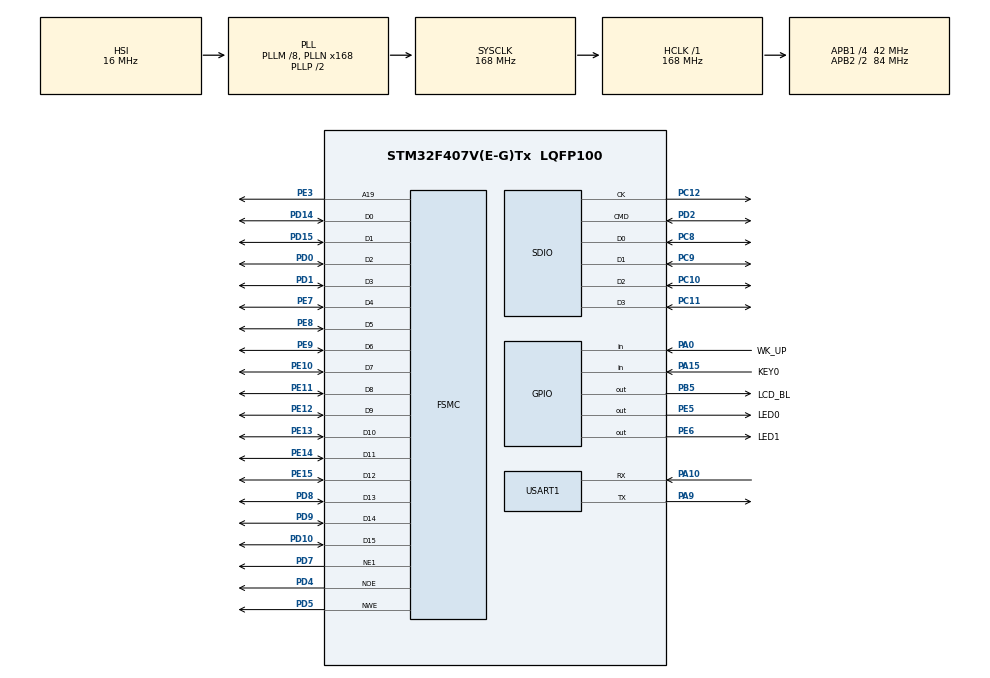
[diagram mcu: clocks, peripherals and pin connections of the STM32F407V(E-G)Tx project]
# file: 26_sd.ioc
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FSMC.AddressSetupTime1=15
FSMC.BusTurnAroundDuration1=0
FSMC.DataSetupTime1=60
FSMC.ExtendedAddressSetupTime1=9
FSMC.ExtendedDataSetupTime1=9
FSMC.ExtendedMode1=FSMC_EXTENDED_MODE_ENABLE
Mcu.Family=STM32F4
Mcu.Name=STM32F407V(E-G)Tx
Mcu.Package=LQFP100
NVIC.PriorityGroup=NVIC_PRIORITYGROUP_2
NVIC.TIM4_IRQn=true\:2\:1\:true\:false\:true\:true\:true\:true
NVIC.USART1_IRQn=true\:2\:2\:true\:false\:true\:true\:true\:true
PA0-WKUP.GPIO_Label=WK_UP
PA0-WKUP.GPIO_PuPd=GPIO_PULLDOWN
PA0-WKUP.Signal=GPIO_Input
PA10.Mode=Asynchronous
PA10.Signal=USART1_RX
PA13.Mode=Serial_Wire
PA13.Signal=SYS_JTMS-SWDIO
PA14.Mode=Serial_Wire
PA14.Signal=SYS_JTCK-SWCLK
PA15.GPIO_Label=KEY0
PA15.GPIO_PuPd=GPIO_PULLDOWN
PA15.Signal=GPIO_Input
PA9.Mode=Asynchronous
PA9.Signal=USART1_TX
PB5.GPIO_Label=LCD_BL
PB5.GPIO_PuPd=GPIO_PULLUP
PB5.GPIO_Speed=GPIO_SPEED_FREQ_HIGH
PB5.PinState=GPIO_PIN_SET
PB5.Signal=GPIO_Output
PC10.Mode=SD_4_bits_Wide_bus
PC10.Signal=SDIO_D2
PC11.Mode=SD_4_bits_Wide_bus
PC11.Signal=SDIO_D3
PC12.Mode=SD_4_bits_Wide_bus
PC12.Signal=SDIO_CK
PC14-OSC32_IN.Mode=LSE-External-Oscillator
PC14-OSC32_IN.Signal=RCC_OSC32_IN
PC15-OSC32_OUT.Mode=LSE-External-Oscillator
PC15-OSC32_OUT.Signal=RCC_OSC32_OUT
PC8.Mode=SD_4_bits_Wide_bus
PC8.Signal=SDIO_D0
PC9.Mode=SD_4_bits_Wide_bus
PC9.Signal=SDIO_D1
PD0.Mode=16b-d1
PD0.Signal=FSMC_D2
PD1.Mode=16b-d1
PD1.Signal=FSMC_D3
PD10.Mode=16b-d1
PD10.Signal=FSMC_D15
PD14.Mode=16b-d1
PD14.Signal=FSMC_D0
PD15.Mode=16b-d1
PD15.Signal=FSMC_D1
PD2.Mode=SD_4_bits_Wide_bus
PD2.Signal=SDIO_CMD
PD4.Mode=Lcd1
PD4.Signal=FSMC_NOE
PD5.Mode=Lcd1
PD5.Signal=FSMC_NWE
PD7.Mode=NorPsramChipSelect1_1
PD7.Signal=FSMC_NE1
PD8.Mode=16b-d1
PD8.Signal=FSMC_D13
PD9.Mode=16b-d1
PD9.Signal=FSMC_D14
PE10.Mode=16b-d1
PE10.Signal=FSMC_D7
PE11.Mode=16b-d1
PE11.Signal=FSMC_D8
PE12.Mode=16b-d1
PE12.Signal=FSMC_D9
PE13.Mode=16b-d1
PE13.Signal=FSMC_D10
PE14.Mode=16b-d1
PE14.Signal=FSMC_D11
PE15.Mode=16b-d1
PE15.Signal=FSMC_D12
PE3.Mode=A19_1
PE3.Signal=FSMC_A19
PE5.GPIO_Label=LED0
PE5.GPIO_PuPd=GPIO_PULLUP
PE5.GPIO_Speed=GPIO_SPEED_FREQ_HIGH
PE5.PinState=GPIO_PIN_SET
PE5.Signal=GPIO_Output
PE6.GPIO_Label=LED1
PE6.GPIO_PuPd=GPIO_PULLUP
PE6.GPIO_Speed=GPIO_SPEED_FREQ_HIGH
PE6.PinState=GPIO_PIN_SET
PE6.Signal=GPIO_Output
PE7.Mode=16b-d1
PE7.Signal=FSMC_D4
PE8.Mode=16b-d1
PE8.Signal=FSMC_D5
PE9.Mode=16b-d1
PE9.Signal=FSMC_D6
PH0-OSC_IN.Mode=HSE-External-Oscillator
PH0-OSC_IN.Signal=RCC_OSC_IN
PH1-OSC_OUT.Mode=HSE-External-Oscillator
PH1-OSC_OUT.Signal=RCC_OSC_OUT
ProjectManager.HeapSize=0x200
ProjectManager.StackSize=0x400
ProjectManager.TargetToolchain=STM32CubeIDE
RCC.48MHZClocksFreq_Value=84000000
RCC.AHBFreq_Value=168000000
RCC.APB1CLKDivider=RCC_HCLK_DIV4
RCC.APB1Freq_Value=42000000
RCC.APB1TimFreq_Value=84000000
RCC.APB2CLKDivider=RCC_HCLK_DIV2
RCC.APB2Freq_Value=84000000
RCC.APB2TimFreq_Value=168000000
RCC.CortexFreq_Value=168000000
RCC.HCLKFreq_Value=168000000
RCC.HSE_VALUE=25000000
RCC.HSI_VALUE=16000000
RCC.PLLM=8
RCC.PLLN=168
RCC.SYSCLKFreq_VALUE=168000000
RCC.SYSCLKSource=RCC_SYSCLKSOURCE_PLLCLK
RCC.VCOOutputFreq_Value=336000000
SDIO.ClockDiv=0x06
SDIO.HardwareFlowControl=SDIO_HARDWARE_FLOW_CONTROL_ENABLE
TIM4.AutoReloadPreload=TIM_AUTORELOAD_PRELOAD_ENABLE
TIM4.Period=1000
TIM4.Prescaler=8400-1
USART1.VirtualMode=VM_ASYNC
VP_TIM4_VS_ClockSourceINT.Mode=Internal
board=custom

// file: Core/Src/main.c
/**
 ****************************************************************************************************
 * @file        main.c
 * @author      ALIENTEK
 * @brief       sd code
 * @license     Copyright (C) 2012-2024, ALIENTEK
 ****************************************************************************************************
 * @attention
 *
 * platform     : ALIENTEK M100-STM32F407 board
 * website      : www.alientek.com
 * forum        : www.openedv.com/forum.php
 *
 * change logs  :
 * version      data         notes
 * V1.0         20240409     the first version
 *
 ****************************************************************************************************
 */

 /* USER CODE BEGIN Header */

/* USER CODE END Header */
#include "main.h"
#include "sdio.h"
#include "tim.h"
#include "usart.h"
#include "gpio.h"
#include "fsmc.h"

/* USER CODE BEGIN Includes */
#include "../../ATK_Middlewares/MALLOC/malloc.h"
#include "../../BSP/LED/led.h"
#include "../../BSP/KEY/key.h"
#include "../../BSP/LCD/lcd.h"
/* USER CODE END Includes */

/* USER CODE BEGIN PTD */
extern uint8_t g_sd_error;
extern HAL_SD_CardInfoTypeDef g_sd_card_info;
/* USER CODE END PTD */

/* USER CODE BEGIN PD */
/**
 * @brief   Displays information about the experiment
 * @param   None
 * @retval  None
 */
void stm32f407vg_show_mesg(void)
{
	/* The serial port outputs the experimental information */
	printf("\n");
	printf("********************************\r\n");
	printf("STM32F407\r\n");
	printf("SD Test\r\n");
	printf("ATOM@ALIENTEK\r\n");
	printf("********************************\r\n");
	printf("\r\n");
}

/**
 * @brief   displays SD card information
 * @param   None
 * @retval  None
 */
static void show_sd_info(void)
{
    HAL_SD_CardCIDTypeDef sd_card_cid = {0};

    HAL_SD_GetCardCID(&hsd, &sd_card_cid);

    printf("Card Type: %s\r\n", (g_sd_card_info.CardType == CARD_SDSC) ? ((g_sd_card_info.CardVersion == CARD_V1_X) ? ("SDSC V1") :
                                                                         ((g_sd_card_info.CardVersion == CARD_V1_X) ? ("SDSC V2") :
                                                                         (""))) :
                                ((g_sd_card_info.CardType == CARD_SDHC_SDXC) ? ("SDHC") :
                                ((g_sd_card_info.CardType == CARD_SECURED) ? ("SECURE") :
                                (""))));
    printf("Card ManufacturerID:%d\r\n", sd_card_cid.ManufacturerID);
    printf("Card RCA:%d\r\n", g_sd_card_info.RelCardAdd);
    printf("LogBlockNbr:%d \r\n", g_sd_card_info.LogBlockNbr);
    printf("LogBlockSize:%d \r\n", g_sd_card_info.LogBlockSize);
    printf("Card Capacity:%d MB\r\n", (uint32_t)(((uint64_t)g_sd_card_info.LogBlockNbr * g_sd_card_info.LogBlockSize) >> 20));
    printf("Card BlockSize:%d\r\n\r\n", g_sd_card_info.BlockSize);

    lcd_show_string(30, 146, 200, 16, 16, "SD Card Size:     MB", BLUE);
    lcd_show_num(30 + 13 * 8, 146, (uint32_t)(((uint64_t)g_sd_card_info.LogBlockNbr * g_sd_card_info.LogBlockSize) >> 20), 5, 16, BLUE);
}

static void sd_read_test(void)
{
    uint8_t *buf;
    uint16_t index;

    buf = (uint8_t *)mymalloc(SRAMIN, g_sd_card_info.BlockSize);
    if (buf == NULL)
    {
        return;
    }

    /* Read and print the data of block 0 of the SD card */
    if (sd_read_disk(buf, 0, 1) == 0)
    {
        lcd_show_string(30, 170, 200, 16, 16, "USART1 Sending Data...", BLUE);
        printf("Block 0 Data:\r\n");
        for (index=0; index<g_sd_card_info.BlockSize; index++)
        {
            printf("%02X ", buf[index]);
        }
        printf("\r\nData End\r\n");
        lcd_show_string(30, 170, 200, 16, 16, "USART1 Send Data Over!", BLUE);
    }
    else
    {
        printf("SD read Failure!\r\n");
        lcd_show_string(30, 170, 200, 16, 16, "SD read Failure!      ", BLUE);
    }

    myfree(SRAMIN, buf);
}
/* USER CODE END PD */

void SystemClock_Config(void);

int main(void)
{
  /* USER CODE BEGIN 1 */
  uint8_t t = 0;
  uint8_t key;
  /* USER CODE END 1 */

  /* MCU Configuration--------------------------------------------------------*/

  /* Reset of all peripherals, Initializes the Flash interface and the Systick. */
  HAL_Init();

  /* Configure the system clock */
  SystemClock_Config();

  /* Initialize all configured peripherals */
  MX_GPIO_Init();
  MX_USART1_UART_Init();
  MX_FSMC_Init();
  MX_TIM4_Init();
  MX_SDIO_SD_Init();
  /* USER CODE BEGIN 2 */
  lcd_init();                         /* Initialize LCD */
  my_mem_init(SRAMIN);                /* Initialize the internal SRAM memory pool */
  my_mem_init(SRAMCCM);               /* Initialize the CCM memory pool */
  stm32f407vg_show_mesg();
  lcd_show_string(30, 50, 200, 16, 16, "STM32", RED);
  lcd_show_string(30, 70, 200, 16, 16, "SD TEST", RED);
  lcd_show_string(30, 90, 200, 16, 16, "ATOM@ALIENTEK", RED);

  lcd_show_string(30, 110, 200, 16, 16, "WKUP: Read Block 0", RED);

  while (g_sd_error == 1)
  {
  	  g_sd_error = 0;
  	  MX_SDIO_SD_Init();
      lcd_show_string(30, 130, 200, 16, 16, "SD Card Error!", RED);
      HAL_Delay(500);
      lcd_show_string(30, 130, 200, 16, 16, "Please Check! ", RED);
      HAL_Delay(500);
      LED1_TOGGLE();
  }

  lcd_show_string(30, 130, 200, 16, 16, "SD Card OK    ", BLUE);

  /* Display SD card information */
  show_sd_info();
  /* USER CODE END 2 */

  /* Infinite loop */
  /* USER CODE BEGIN WHILE */
  while (1)
  {
	  key = key_scan(0);
	  if (key == WKUP_PRES)
	  {
	  	  /* SD card read test */
	  	  sd_read_test();
	  }

	  if (++t == 20)
	  {
	  	  t = 0;
	  	  LED0_TOGGLE();/* flashing LED0 indicates that the system is running */
	  }

	  HAL_Delay(10);       /* delay 10ms */
    /* USER CODE END WHILE */

  }
}

void SystemClock_Config(void)
{
  RCC_OscInitTypeDef RCC_OscInitStruct = {0};
  RCC_ClkInitTypeDef RCC_ClkInitStruct = {0};

  /** Configure the main internal regulator output voltage
  */
  __HAL_RCC_PWR_CLK_ENABLE();
  __HAL_PWR_VOLTAGESCALING_CONFIG(PWR_REGULATOR_VOLTAGE_SCALE1);

  /** Initializes the RCC Oscillators according to the specified parameters
  * in the RCC_OscInitTypeDef structure.
  */
  RCC_OscInitStruct.OscillatorType = RCC_OSCILLATORTYPE_HSI;
  RCC_OscInitStruct.HSIState = RCC_HSI_ON;
  RCC_OscInitStruct.HSICalibrationValue = RCC_HSICALIBRATION_DEFAULT;
  RCC_OscInitStruct.PLL.PLLState = RCC_PLL_ON;
  RCC_OscInitStruct.PLL.PLLSource = RCC_PLLSOURCE_HSI;
  RCC_OscInitStruct.PLL.PLLM = 8;
  RCC_OscInitStruct.PLL.PLLN = 168;
  RCC_OscInitStruct.PLL.PLLP = RCC_PLLP_DIV2;
  RCC_OscInitStruct.PLL.PLLQ = 4;
  if (HAL_RCC_OscConfig(&RCC_OscInitStruct) != HAL_OK)
  {
    Error_Handler();
  }

  /** Initializes the CPU, AHB and APB buses clocks
  */
  RCC_ClkInitStruct.ClockType = RCC_CLOCKTYPE_HCLK|RCC_CLOCKTYPE_SYSCLK
                              |RCC_CLOCKTYPE_PCLK1|RCC_CLOCKTYPE_PCLK2;
  RCC_ClkInitStruct.SYSCLKSource = RCC_SYSCLKSOURCE_PLLCLK;
  RCC_ClkInitStruct.AHBCLKDivider = RCC_SYSCLK_DIV1;
  RCC_ClkInitStruct.APB1CLKDivider = RCC_HCLK_DIV4;
  RCC_ClkInitStruct.APB2CLKDivider = RCC_HCLK_DIV2;

  if (HAL_RCC_ClockConfig(&RCC_ClkInitStruct, FLASH_LATENCY_5) != HAL_OK)
  {
    Error_Handler();
  }
}

void Error_Handler(void)
{
  __disable_irq();
  while (1)
  {
  }
}
